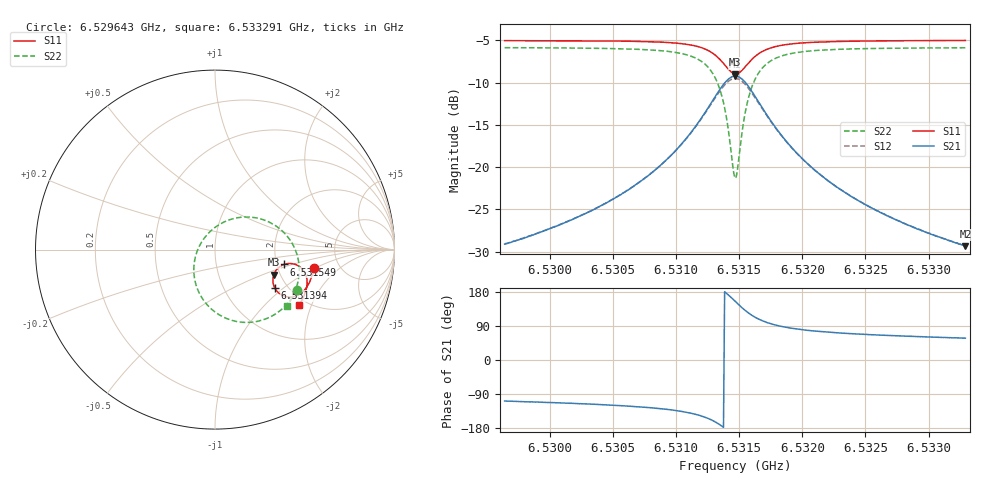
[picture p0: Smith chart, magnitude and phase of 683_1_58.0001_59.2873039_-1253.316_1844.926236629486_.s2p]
#  HZ  S  RI  R  50.00
! Rohde & Schwarz Vector Network Analyzer
! Rohde-Schwarz,ZNB20-2Port,1311601062101988,3.16
! Created: UTC 3/21/2024, 1:20:56 AM
! freq[Hz]  re:S11  im:S11  re:S21  im:S21  re:S12  im:S12  re:S22  im:S22
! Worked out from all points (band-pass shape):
!   401 points, 6.529643 GHz to 6.533291 GHz, reference 50 ohm
!   highest |S21| = -9.22 dB at 6.531467 GHz (marker M1); lowest = -29.4 dB at 6.533291 GHz (marker M2)
!   |S21| within 3 dB of the highest: 6.531286 GHz to 6.531651 GHz (364.5 kHz wide, 0.00558 % of centre)
!   lowest |S11| = -9.0 dB at 6.531467 GHz (marker M3), VSWR 2.11, Z = 92.5 - j29.7 ohm
!   |S11| at or under -10 dB: nowhere
!   |S22| runs from -21.3 to -5.9 dB; largest |S21 - S12| = 0.015
!   S11 on the Smith chart (normalised r, x): 6.529643 GHz: 3.23, -0.97; 6.531394 GHz: 1.72, -0.87; 6.531549 GHz: 2.20, -0.43; 6.533291 GHz: 1.83, -1.64
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6.5296428e9  0.5507 -0.1035  -0.0109 -0.0332  -0.0117 -0.033  0.4576 -0.2232
6.5302539e9  0.537 -0.1555  -0.0224 -0.0469  -0.0235 -0.0464  0.4207 -0.2813
6.5306097e9  0.5227 -0.19  -0.0377 -0.0618  -0.0394 -0.0609  0.3807 -0.325
6.5308651e9  0.5041 -0.2195  -0.0619 -0.0792  -0.0642 -0.0773  0.3266 -0.3648
6.5310749e9  0.4734 -0.2477  -0.1074 -0.0985  -0.1105 -0.0945  0.2355 -0.3999
6.5312391e9  0.42 -0.2644  -0.1906 -0.1005  -0.1923 -0.092  0.0852 -0.3914
6.5313303e9  0.3691 -0.2514  -0.2687 -0.0613  -0.2658 -0.0496  -0.0417 -0.3097
6.5313668e9  0.347 -0.2336  -0.3009 -0.0244  -0.2945 -0.0126  -0.0883 -0.2413
6.5313941e9  0.3331 -0.2137  -0.3197 0.014  -0.3104 0.0247  -0.1116 -0.1739
6.5314489e9  0.3231 -0.1597  -0.3251 0.1112  -0.3118 0.1164  -0.1012 -0.0136
6.5314671e9  0.3274 -0.1403  -0.3142 0.1444  -0.3005 0.1473  -0.077 0.0382
6.5314854e9  0.3358 -0.1224  -0.2966 0.175  -0.2834 0.1753  -0.0428 0.0846
6.5315127e9  0.3542 -0.1004  -0.261 0.2119  -0.2496 0.2095  0.0219 0.1384
6.5315492e9  0.3851 -0.0825  -0.2053 0.2411  -0.1969 0.2364  0.1186 0.1762
6.5315766e9  0.4083 -0.0776  -0.1641 0.2487  -0.158 0.2437  0.1878 0.1815
6.5316131e9  0.4359 -0.0794  -0.1164 0.2452  -0.1126 0.2408  0.267 0.167
6.5317043e9  0.4811 -0.1033  -0.0398 0.208  -0.0382 0.2057  0.3904 0.0883
6.5318411e9  0.5068 -0.1434  0.00493 0.152  0.00592 0.151  0.4555 -0.0228
6.5320783e9  0.513 -0.1909  0.022 0.0964  0.0233 0.096  0.4688 -0.1355
6.5323975e9  0.5052 -0.2318  0.0234 0.062  0.0244 0.0617  0.4532 -0.2129
6.5326894e9  0.4948 -0.2599  0.0218 0.0459  0.0226 0.0455  0.4356 -0.2554
6.5332914e9  0.4706 -0.3068  0.0182 0.0288  0.0189 0.0285  0.4004 -0.313
